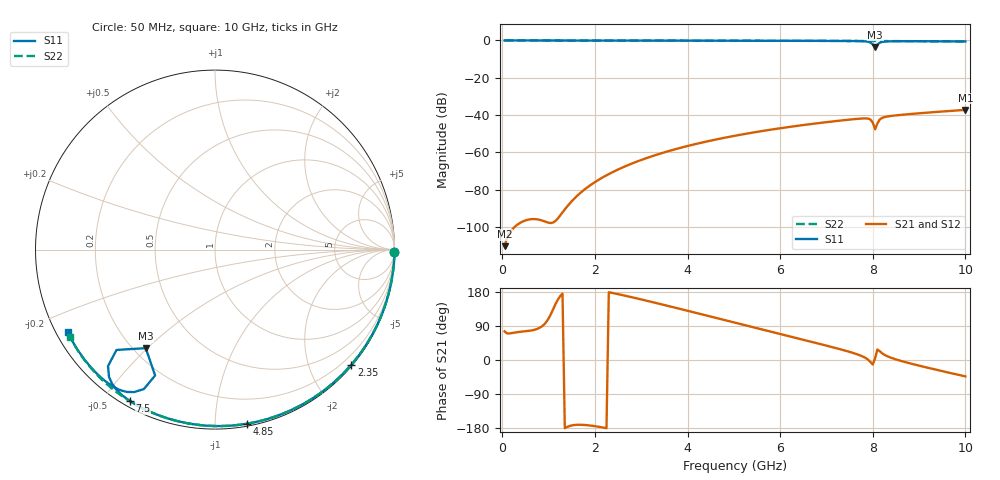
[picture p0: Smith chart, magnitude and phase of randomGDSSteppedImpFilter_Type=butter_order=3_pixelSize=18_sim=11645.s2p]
! freq	dB(S11)	phase(S11)	dB(S12)	phase(S12)
!  dB(S21)	phase(S21)	dB(S22)	phase(S22)
!S-par simulation data
#  GHz  S  DB  R 50
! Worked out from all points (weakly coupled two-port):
!   200 points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, 50 MHz to 10 GHz, reference 50 ohm
!   highest |S21| = -37.20 dB at 10 GHz (marker M1); lowest = -110.2 dB at 50 MHz (marker M2)
!   lowest |S11| = -3.5 dB at 8.05 GHz (marker M3), VSWR 5.08, Z = 12.4 - j24.7 ohm
!   |S11| at or under -10 dB: nowhere
!   |S22| runs from -0.5 to 0.0 dB; largest |S21 - S12| = 0
!   S11 on the Smith chart (normalised r, x): 50 MHz: open; 2.35 GHz: 0.03, -2.74; 4.85 GHz: 0.02, -1.20; 7.5 GHz: 0.02, -0.58; 10 GHz: 0.03, -0.26
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0.05  -0.00 -0.9  -110.19 75.5  -110.19 75.5  -0.00 -0.9
0.9  -0.02 -15.6  -96.79 93.4  -96.79 93.4  -0.02 -15.5
1.75  -0.04 -30.1  -80.34 -171.2  -80.34 -171.2  -0.04 -29.8
2.35  -0.05 -40.1  -70.93 177.7  -70.93 177.7  -0.05 -39.7
2.85  -0.06 -48.3  -65.42 164.2  -65.42 164.2  -0.06 -47.8
3.4  -0.08 -57.2  -60.68 148.1  -60.68 148.1  -0.08 -56.5
4.1  -0.10 -68.2  -55.92 126.9  -55.92 126.9  -0.09 -67.4
4.85  -0.12 -79.7  -51.86 103.9  -51.86 103.9  -0.12 -78.7
5.05  -0.13 -82.7  -50.92 97.7  -50.92 97.7  -0.13 -81.6
5.85  -0.16 -94.5  -47.58 73.2  -47.58 73.2  -0.16 -93.1
6.7  -0.21 -106.9  -44.66 47.2  -44.66 47.2  -0.20 -105.0
7.5  -0.29 -119.3  -42.38 21.4  -42.38 21.4  -0.26 -115.8
7.8  -0.44 -126.0  -41.76 8.3  -41.76 8.3  -0.28 -119.8
7.95  -1.10 -132.6  -42.34 -5.3  -42.34 -5.3  -0.29 -121.8
8  -2.12 -134.5  -44.01 -12.0  -44.01 -12.0  -0.30 -122.5
8.05  -3.46 -125.1  -47.60 4.6  -47.60 4.6  -0.30 -123.2
8.1  -2.19 -115.4  -44.47 27.7  -44.47 27.7  -0.30 -123.8
8.15  -1.19 -117.0  -42.34 23.2  -42.34 23.2  -0.31 -124.5
8.25  -0.61 -121.7  -41.07 13.9  -41.07 13.9  -0.32 -125.8
8.35  -0.47 -124.7  -40.59 8.0  -40.59 8.0  -0.33 -127.2
8.95  -0.42 -135.5  -39.11 -13.4  -39.11 -13.4  -0.38 -135.1
10  -0.53 -150.8  -37.20 -43.2  -37.20 -43.2  -0.51 -149.1
